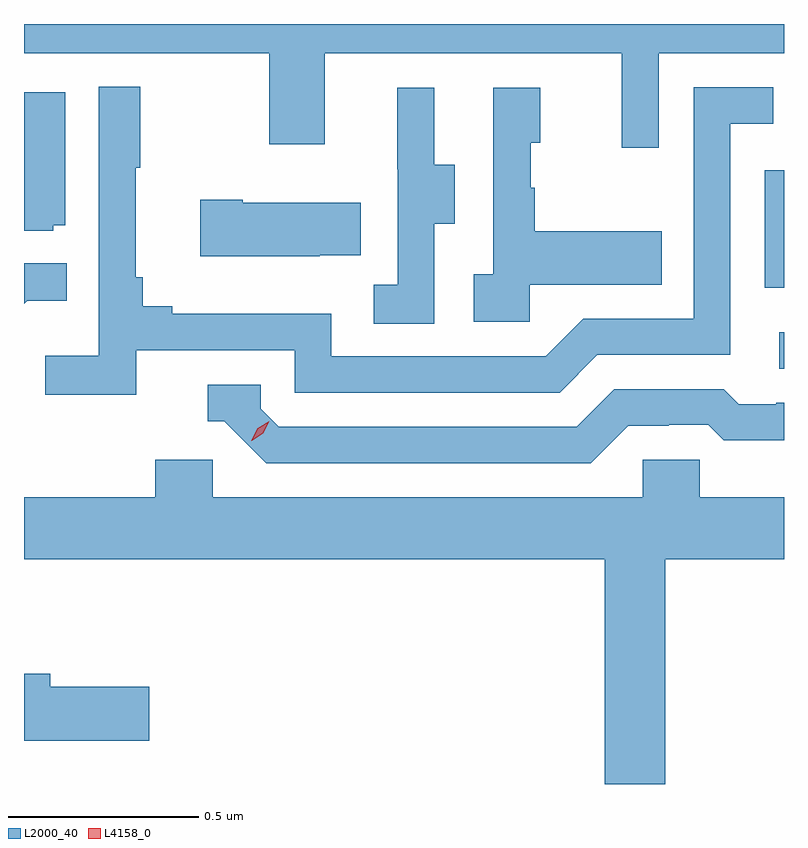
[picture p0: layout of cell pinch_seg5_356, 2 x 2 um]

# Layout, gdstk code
import gdstk
lib = gdstk.Library(unit=1e-6, precision=1e-09)
def R(c, l, rs):  # rectangles x0, y0, x1, y1
    for r in rs: c.add(gdstk.rectangle(r[:2], r[2:], *l))
def P(c, l, *ps):  # polygons
    for p in ps: c.add(gdstk.Polygon(p, *l))
L2000_40 = (2000, 40)
L4158_0 = (4158, 0)

pinch_seg5_356 = lib.new_cell('pinch_seg5_356')
R(pinch_seg5_356, L2000_40, [(973.029,890.562,973.041,890.658), (972.99,890.775,973.041,891.084)])
P(pinch_seg5_356, L2000_40, [(972.711,891.392),(973.041,891.392),(973.041,891.469),(971.041,891.469),(971.041,891.392),(971.686,891.392),(971.686,891.153),(971.833,891.153),(971.833,891.392),(972.614,891.392),(972.614,891.144),(972.711,891.144)],
  [(971.336,890.61),(971.754,890.61),(971.754,890.499),(972.451,890.499),(972.55,890.598),(972.9,890.598),(972.9,891.207),(973.013,891.207),(973.013,891.303),(972.804,891.303),(972.804,890.694),(972.513,890.694),(972.414,890.595),(971.85,890.595),(971.85,890.707),(971.431,890.707),(971.431,890.726),(971.354,890.726),(971.354,890.803),(971.335,890.803),(971.335,891.091),(971.347,891.091),(971.347,891.304),(971.238,891.304),(971.238,890.596),(971.097,890.596),(971.097,890.494),(971.336,890.494)],
  [(972.12,890.944),(972.175,890.944),(972.175,891.099),(972.121,891.099),(972.121,891.301),(972.023,891.301),(972.023,891.087),(972.024,891.087),(972.024,890.783),(971.961,890.783),(971.961,890.68),(972.12,890.68)],
  [(972.372,890.783),(972.719,890.783),(972.719,890.923),(972.385,890.923),(972.385,891.038),(972.375,891.038),(972.375,891.156),(972.4,891.156),(972.4,891.301),(972.276,891.301),(972.276,890.81),(972.225,890.81),(972.225,890.685),(972.372,890.685)],
  [(971.118,890.94),(971.149,890.94),(971.149,891.289),(971.041,891.289),(971.041,890.925),(971.118,890.925)],
  [(971.819,890.861),(971.927,890.861),(971.927,890.998),(971.617,890.998),(971.617,891.006),(971.505,891.006),(971.505,890.858),(971.819,890.858)],
  [(971.049,890.741),(971.153,890.741),(971.153,890.84),(971.041,890.84),(971.041,890.733)],
  [(972.631,890.412),(972.738,890.412),(972.738,890.415),(972.841,890.415),(972.883,890.373),(973.041,890.373),(973.041,890.472),(973.021,890.472),(973.021,890.469),(972.922,890.469),(972.883,890.508),(972.594,890.508),(972.495,890.409),(971.712,890.409),(971.664,890.457),(971.664,890.52),(971.525,890.52),(971.525,890.424),(971.568,890.424),(971.679,890.313),(972.532,890.313)],
  [(972.729,890.06),(973.041,890.06),(973.041,890.224),(972.819,890.224),(972.819,890.322),(972.669,890.322),(972.669,890.224),(971.538,890.224),(971.538,890.322),(971.387,890.322),(971.387,890.224),(971.041,890.224),(971.041,890.06),(972.569,890.06),(972.569,889.469),(972.729,889.469)],
  [(971.371,889.725),(971.11,889.725),(971.11,889.759),(971.041,889.759),(971.041,889.583),(971.371,889.583)])
P(pinch_seg5_356, L4158_0, [(971.639,890.372),(971.639,890.372),(971.656,890.405),(971.686,890.424),(971.687,890.424),(971.687,890.424),(971.67,890.392),(971.64,890.372)])

lib.write_gds('pinch_seg5_356.gds')
